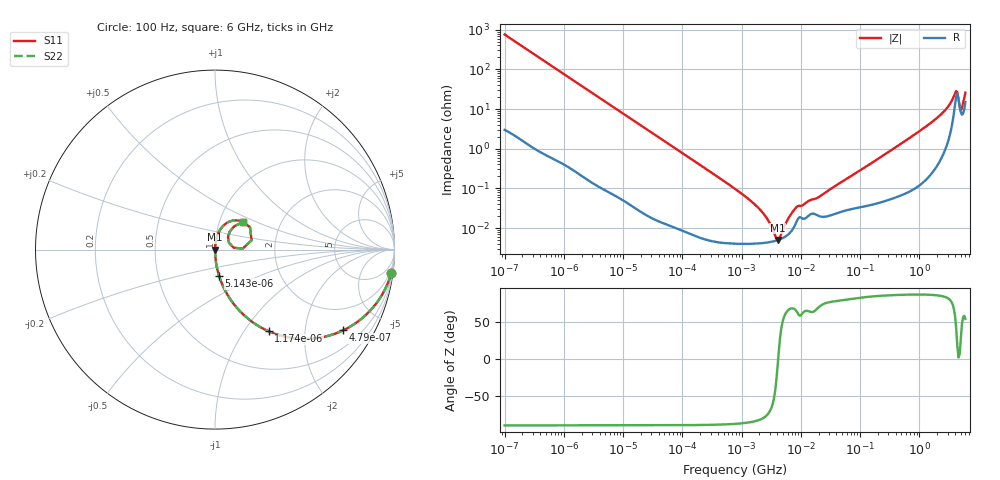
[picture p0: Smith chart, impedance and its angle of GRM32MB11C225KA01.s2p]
!Murata Part Number: GRM32MB11C225KA01
!These Parameters are Measured in Series Mode Connection
!Data Generated on Mar 30, 2021
!  o--ll--o
!Port1  Port2
!  o------o
!Operation Temp=25[degC], DC Bias Voltage=0[V]
!Freq. Start=100[Hz] Stop=6[GHz] 401[Steps]
# Hz S RI R 50
!Freq.(Hz) S11(Real) S11(Imag) S21(Real) S21(Imag) S12(Real) S12(Imag) S22(Real) S22(Imag)
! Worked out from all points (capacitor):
!   401 points, 100 Hz to 6 GHz, reference 50 ohm
!   read as one part in series: C = 2.1 uF near 109 Hz
!   lowest |Z| = 4.99 mohm at 4.06 MHz (marker M1)
!   series resonance near 4.139 MHz, so ESL is about 710 pH
!   S11 on the Smith chart (normalised r, x): 100 Hz: 1, -15; 479 Hz: 1.01, -3.18; 1.174 kHz: 1.01, -1.30; 5.143 kHz: 1.00, -0.30; 6 GHz: 1.30, +0.42
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100  0.9824 -0.1295  0.0176 0.1295  0.0176 0.1295  0.9824 -0.1295
245  0.905 -0.2911  0.095 0.2911  0.095 0.2911  0.905 -0.2911
479  0.7154 -0.449  0.2846 0.449  0.2846 0.449  0.7154 -0.449
750  0.5082 -0.4975  0.4918 0.4975  0.4918 0.4975  0.5082 -0.4975
1174  0.2985 -0.4549  0.7015 0.4549  0.7015 0.4549  0.2985 -0.4549
2008  0.1281 -0.3315  0.8719 0.3315  0.8719 0.3315  0.1281 -0.3315
5143  0.0226 -0.1457  0.9774 0.1457  0.9774 0.1457  0.0226 -0.1457
40335  0.000514 -0.0192  0.9995 0.0192  0.9995 0.0192  0.000514 -0.0192
774597  4.11e-05 -0.000973  1 0.000973  1 0.000973  4.11e-05 -0.000973
1896632  4.09e-05 -0.000326  1 0.000326  1 0.000326  4.09e-05 -0.000326
3394479  4.59e-05 -7.6e-05  1 7.6e-05  1 7.6e-05  4.59e-05 -7.6e-05
4060267  4.94e-05 -7.3e-06  1 7.3e-06  1 7.3e-06  4.94e-05 -7.3e-06
5079039  5.7e-05 7.99e-05  0.9999 -7.99e-05  0.9999 -7.99e-05  5.7e-05 7.99e-05
8311524  0.000135 0.0003  0.9999 -0.0003  0.9999 -0.0003  0.000135 0.0003
1.555665e7  0.000231 0.000469  0.9998 -0.000469  0.9998 -0.000469  0.000231 0.000469
3.124326e8  0.000591 0.00852  0.9994 -0.00852  0.9994 -0.00852  0.000591 0.00852
1.95892e9  0.00688 0.0578  0.9931 -0.0578  0.9931 -0.0578  0.00688 0.0578
3.205649e9  0.0336 0.1185  0.9664 -0.1185  0.9664 -0.1185  0.0336 0.1185
4.009986e9  0.145 0.1614  0.855 -0.1614  0.855 -0.1614  0.145 0.1614
5.016141e9  0.0783 0.0372  0.9217 -0.0372  0.9217 -0.0372  0.0783 0.0372
5.245841e9  0.0723 0.0685  0.9277 -0.0685  0.9277 -0.0685  0.0723 0.0685
6e9  0.1582 0.1539  0.8418 -0.1539  0.8418 -0.1539  0.1582 0.1539
